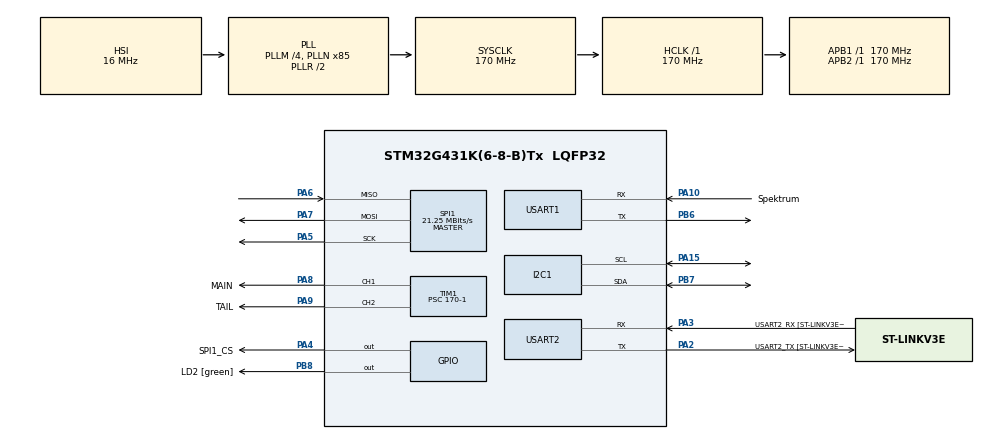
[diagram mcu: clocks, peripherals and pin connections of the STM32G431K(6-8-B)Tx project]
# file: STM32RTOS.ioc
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Mcu.Family=STM32G4
FREERTOS.Queues01=IMUQ,1,IMU,0,Static,IMUQBuffer,IMUQControlBlock;PWMQ,1,PWM_CMD,0,Static,PWMQBuffer,PWMQControlBlock;CMDQ,1,PQR_CMD,0,Static,CMDQBuffer,CMDQControlBlock;MAGQ,1,MOTOR,0,Static,MAGQBuffer,MAGQControlBlock
PA6.Mode=Full_Duplex_Master
RCC.CortexFreq_Value=170000000
SPI1.VirtualType=VM_MASTER
Dma.USART1_RX.0.EventEnable=DISABLE
PA14.GPIO_Label=T_SWCLK
Dma.USART1_RX.0.SignalID=NONE
RCC.SYSCLKSource=RCC_SYSCLKSOURCE_PLLCLK
ProjectManager.StackSize=0x400
VP_FREERTOS_VS_CMSIS_V2.Mode=CMSIS_V2
TIM1.Prescaler=170-1
SPI1.Direction=SPI_DIRECTION_2LINES
RCC.HCLKFreq_Value=170000000
RCC.APB2TimFreq_Value=170000000
PB6.Signal=USART1_TX
PB6.Mode=Asynchronous
SPI1.CalculateBaudRate=21.25 MBits/s
RCC.AHBFreq_Value=170000000
Dma.USART1_RX.0.Priority=DMA_PRIORITY_LOW
RCC.HSE_VALUE=8000000
USART2.VirtualMode-Asynchronous=VM_ASYNC
PA15.Mode=I2C
RCC.ADC12Freq_Value=170000000
TIM1.Channel-PWM\ Generation1\ CH1=TIM_CHANNEL_1
PA14.Mode=Serial_Wire
NVIC.TIM2_IRQn=true\:0\:0\:false\:false\:true\:false\:false\:true
SPI1.DataSize=SPI_DATASIZE_16BIT
PA10.GPIO_Label=Spektrum
Dma.USART1_RX.0.SyncEnable=DISABLE
VP_SYS_VS_DBSignals.Mode=DisableDeadBatterySignals
PB7.Signal=I2C1_SDA
PA8.Signal=S_TIM1_CH1
Dma.USART1_RX.0.MemInc=DMA_MINC_ENABLE
Mcu.Package=LQFP32
VP_SYS_VS_tim2.Mode=TIM2
PA6.Signal=SPI1_MISO
NVIC.TimeBase=TIM2_IRQn
PA2.GPIO_Label=USART2_TX [ST-LINKV3E_VCP_RX]
NVIC.TimeBaseIP=TIM2
PA10.Signal=USART1_RX
PA15.Signal=I2C1_SCL
PB8-BOOT0.GPIO_Label=LD2 [green]
USART2.WordLength=WORDLENGTH_8B
RCC.APB1TimFreq_Value=170000000
Dma.USART1_RX.0.Mode=DMA_CIRCULAR
Dma.Request0=USART1_RX
SPI1.BaudRatePrescaler=SPI_BAUDRATEPRESCALER_8
PA4.GPIO_Label=SPI1_CS
Dma.USART1_RX.0.Instance=DMA1_Channel1
RCC.HSI48_VALUE=48000000
PA3.Signal=USART2_RX
PA5.Mode=Full_Duplex_Master
FREERTOS.Tasks01=RC,24,128,StartRC,Default,NULL,Static,RCBuffer,RCControlBlock;IMU,24,128,StartIMU,Default,NULL,Static,IMUBuffer,IMUControlBlock;CyclicPitch,24,128,StartCyclicPitch,Default,NULL,Static,CyclicPitchBuffer,CyclicPitchControlBlock;MainLoop,24,128,StartMainLoop,Default,NULL,Static,MainLoopBuffer,MainLoopControlBlock;MAG,8,128,StartMAG,Default,NULL,Static,MAGBuffer,MAGControlBlock
PA7.Mode=Full_Duplex_Master
Dma.USART1_RX.0.PeriphDataAlignment=DMA_PDATAALIGN_BYTE
PA10.Mode=Asynchronous
PA9.GPIO_Label=TAIL
RCC.EXTERNAL_CLOCK_VALUE=12288000
SPI1.CLKPhase=SPI_PHASE_2EDGE
Dma.USART1_RX.0.RequestNumber=1
Dma.USART1_RX.0.Polarity=HAL_DMAMUX_REQ_GEN_RISING
USART1.VirtualMode-Asynchronous=VM_ASYNC
PA13.Signal=SYS_JTMS-SWDIO
PA3.Mode=Asynchronous
PA8.GPIO_Label=MAIN
SH.S_TIM1_CH1.0=TIM1_CH1,PWM Generation1 CH1
ProjectManager.TargetToolchain=STM32CubeIDE
Dma.USART1_RX.0.SyncRequestNumber=1
Dma.USART1_RX.0.Direction=DMA_PERIPH_TO_MEMORY
PA9.Signal=S_TIM1_CH2
TIM1.Channel-PWM\ Generation2\ CH2=TIM_CHANNEL_2
I2C1.Timing=0x30A0A7FB
RCC.USBFreq_Value=170000000
RCC.LSE_VALUE=32768
Dma.USART1_RX.0.PeriphInc=DMA_PINC_DISABLE
PA5.Signal=SPI1_SCK
PB8-BOOT0.Signal=GPIO_Output
board=NUCLEO-G431KB
RCC.VCOOutputFreq_Value=340000000
RCC.APB2Freq_Value=170000000
SH.S_TIM1_CH2.0=TIM1_CH2,PWM Generation2 CH2
SPI1.Mode=SPI_MODE_MASTER
Dma.USART1_RX.0.MemDataAlignment=DMA_MDATAALIGN_BYTE
Dma.USART1_RX.0.SyncPolarity=HAL_DMAMUX_SYNC_NO_EVENT
PA13.Mode=Serial_Wire
Mcu.Name=STM32G431K(6-8-B)Tx
Dma.USART1_RX.0.SyncSignalID=NONE
PA13.GPIO_Label=T_SWDIO
PA2.Signal=USART2_TX
PA4.Signal=GPIO_Output
RCC.SYSCLKFreq_VALUE=170000000
PB7.Mode=I2C
PA14.Signal=SYS_JTCK-SWCLK
ProjectManager.HeapSize=0x200
RCC.HSI_VALUE=16000000
NVIC.PriorityGroup=NVIC_PRIORITYGROUP_4
RCC.PLLM=RCC_PLLM_DIV4
RCC.PLLN=85
PA2.Mode=Asynchronous
NVIC.DMA1_Channel1_IRQn=true\:5\:0\:false\:false\:true\:true\:false\:true
RCC.APB1Freq_Value=170000000
TIM1.PeriodNoDither=2500-1
PA3.GPIO_Label=USART2_RX [ST-LINKV3E_VCP_TX]
PA7.Signal=SPI1_MOSI

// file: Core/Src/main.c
/* USER CODE BEGIN Header */
/**
  ******************************************************************************
  * @file           : main.c
  * @brief          : Main program body
  ******************************************************************************
  * @attention
  *
  * <h2><center>&copy; Copyright (c) 2021 STMicroelectronics.
  * All rights reserved.</center></h2>
  *
  * This software component is licensed by ST under BSD 3-Clause license,
  * the "License"; You may not use this file except in compliance with the
  * License. You may obtain a copy of the License at:
  *                        opensource.org/licenses/BSD-3-Clause
  *
  ******************************************************************************
  */
/* USER CODE END Header */
#include "main.h"
#include "cmsis_os.h"

typedef StaticTask_t osStaticThreadDef_t;
typedef StaticQueue_t osStaticMessageQDef_t;

I2C_HandleTypeDef hi2c1;

SPI_HandleTypeDef hspi1;

TIM_HandleTypeDef htim1;

UART_HandleTypeDef huart1;
UART_HandleTypeDef huart2;
DMA_HandleTypeDef hdma_usart1_rx;

/* Definitions for RC */
osThreadId_t RCHandle;
uint32_t RCBuffer[ 128 ];
osStaticThreadDef_t RCControlBlock;
const osThreadAttr_t RC_attributes = {
  .name = "RC",
  .stack_mem = &RCBuffer[0],
  .stack_size = sizeof(RCBuffer),
  .cb_mem = &RCControlBlock,
  .cb_size = sizeof(RCControlBlock),
  .priority = (osPriority_t) osPriorityNormal,
};
/* Definitions for IMU */
osThreadId_t IMUHandle;
uint32_t IMUBuffer[ 128 ];
osStaticThreadDef_t IMUControlBlock;
const osThreadAttr_t IMU_attributes = {
  .name = "IMU",
  .stack_mem = &IMUBuffer[0],
  .stack_size = sizeof(IMUBuffer),
  .cb_mem = &IMUControlBlock,
  .cb_size = sizeof(IMUControlBlock),
  .priority = (osPriority_t) osPriorityNormal,
};
/* Definitions for CyclicPitch */
osThreadId_t CyclicPitchHandle;
uint32_t CyclicPitchBuffer[ 128 ];
osStaticThreadDef_t CyclicPitchControlBlock;
const osThreadAttr_t CyclicPitch_attributes = {
  .name = "CyclicPitch",
  .stack_mem = &CyclicPitchBuffer[0],
  .stack_size = sizeof(CyclicPitchBuffer),
  .cb_mem = &CyclicPitchControlBlock,
  .cb_size = sizeof(CyclicPitchControlBlock),
  .priority = (osPriority_t) osPriorityNormal,
};
/* Definitions for MainLoop */
osThreadId_t MainLoopHandle;
uint32_t MainLoopBuffer[ 128 ];
osStaticThreadDef_t MainLoopControlBlock;
const osThreadAttr_t MainLoop_attributes = {
  .name = "MainLoop",
  .stack_mem = &MainLoopBuffer[0],
  .stack_size = sizeof(MainLoopBuffer),
  .cb_mem = &MainLoopControlBlock,
  .cb_size = sizeof(MainLoopControlBlock),
  .priority = (osPriority_t) osPriorityNormal,
};
/* Definitions for MAG */
osThreadId_t MAGHandle;
uint32_t MAGBuffer[ 128 ];
osStaticThreadDef_t MAGControlBlock;
const osThreadAttr_t MAG_attributes = {
  .name = "MAG",
  .stack_mem = &MAGBuffer[0],
  .stack_size = sizeof(MAGBuffer),
  .cb_mem = &MAGControlBlock,
  .cb_size = sizeof(MAGControlBlock),
  .priority = (osPriority_t) osPriorityLow,
};
/* Definitions for IMUQ */
osMessageQueueId_t IMUQHandle;
uint8_t IMUQBuffer[ 1 * sizeof( IMU ) ];
osStaticMessageQDef_t IMUQControlBlock;
const osMessageQueueAttr_t IMUQ_attributes = {
  .name = "IMUQ",
  .cb_mem = &IMUQControlBlock,
  .cb_size = sizeof(IMUQControlBlock),
  .mq_mem = &IMUQBuffer,
  .mq_size = sizeof(IMUQBuffer)
};
/* Definitions for PWMQ */
osMessageQueueId_t PWMQHandle;
uint8_t PWMQBuffer[ 1 * sizeof( PWM_CMD ) ];
osStaticMessageQDef_t PWMQControlBlock;
const osMessageQueueAttr_t PWMQ_attributes = {
  .name = "PWMQ",
  .cb_mem = &PWMQControlBlock,
  .cb_size = sizeof(PWMQControlBlock),
  .mq_mem = &PWMQBuffer,
  .mq_size = sizeof(PWMQBuffer)
};
/* Definitions for CMDQ */
osMessageQueueId_t CMDQHandle;
uint8_t CMDQBuffer[ 1 * sizeof( PQR_CMD ) ];
osStaticMessageQDef_t CMDQControlBlock;
const osMessageQueueAttr_t CMDQ_attributes = {
  .name = "CMDQ",
  .cb_mem = &CMDQControlBlock,
  .cb_size = sizeof(CMDQControlBlock),
  .mq_mem = &CMDQBuffer,
  .mq_size = sizeof(CMDQBuffer)
};
/* Definitions for MAGQ */
osMessageQueueId_t MAGQHandle;
uint8_t MAGQBuffer[ 1 * sizeof( MOTOR ) ];
osStaticMessageQDef_t MAGQControlBlock;
const osMessageQueueAttr_t MAGQ_attributes = {
  .name = "MAGQ",
  .cb_mem = &MAGQControlBlock,
  .cb_size = sizeof(MAGQControlBlock),
  .mq_mem = &MAGQBuffer,
  .mq_size = sizeof(MAGQBuffer)
};
/* USER CODE BEGIN PV */

IMU imu  = { 0, };
MOTOR mag = { 0, };
PQR_CMD pqr_cmd = { 0, }, pid_cmd = { 0, };			// P Q
PWM_CMD pwm_cmd = { 0, };		// main tail thro

double cyclic_control;

/* USER CODE END PV */

void SystemClock_Config(void);
static void MX_GPIO_Init(void);
static void MX_DMA_Init(void);
static void MX_USART2_UART_Init(void);
static void MX_I2C1_Init(void);
static void MX_SPI1_Init(void);
static void MX_USART1_UART_Init(void);
static void MX_TIM1_Init(void);
void StartRC(void *argument);
void StartIMU(void *argument);
void StartCyclicPitch(void *argument);
void StartMainLoop(void *argument);
void StartMAG(void *argument);

/* USER CODE BEGIN PFP */
void RC_check(void);
void IMU_check(void);
void MAG_check(void);
void PWM_check(void);
/* USER CODE END PFP */

int main(void)
{

  /* MCU Configuration--------------------------------------------------------*/

  /* Reset of all peripherals, Initializes the Flash interface and the Systick. */
  HAL_Init();

  /* Configure the system clock */
  SystemClock_Config();

  /* Initialize all configured peripherals */
  MX_GPIO_Init();
  MX_DMA_Init();
  MX_USART2_UART_Init();
  MX_I2C1_Init();
  MX_SPI1_Init();
  MX_USART1_UART_Init();
  MX_TIM1_Init();
  /* USER CODE BEGIN 2 */

  HAL_GPIO_WritePin(LD2_GPIO_Port, LD2_Pin, GPIO_PIN_SET);
  HAL_Delay(500);
  HAL_GPIO_WritePin(LD2_GPIO_Port, LD2_Pin, GPIO_PIN_RESET);

  MAG_check();
  RC_check();
  IMU_check();
  PWM_check();

  pwm_cmd.cyclic_pitch = PWM_MIN;
  pwm_cmd.tail = PWM_MIN;
  pwm_cmd.throttle = PWM_MIN;

  HAL_GPIO_WritePin(LD2_GPIO_Port, LD2_Pin, GPIO_PIN_SET);

  HAL_TIM_PWM_Start(&htim1, TIM_CHANNEL_1);
  HAL_TIM_PWM_Start(&htim1, TIM_CHANNEL_2);

  /*======GAIN SET===============================================================================================*/
  setAmplitudeGain(0.0002);
  setShiftGain(0.003054325);
  setPIDGain(0.45, 0.007, 0, 0);//0.01//1.05, 0.007, 1.0, 0
  setPIDGain(0.8, 0.0085, 0, 1);//0.0115//1.2, 0.0085, 1.15, 1
  setPIDGain(1.15, 0.007, 1.05, 2);
  setPIDGain(0.4, 0, 0.95, 3);//0.0115//1.2, 0.0085, 1.15, 1
  setPIDGain(0.4, 0, 0.95, 4);//0.0115//1.2, 0.0085, 1.15, 1

  /*=============================================================================================================*/

  /* USER CODE END 2 */

  /* Init scheduler */
  osKernelInitialize();

  /* Create the queue(s) */
  /* creation of IMUQ */
  IMUQHandle = osMessageQueueNew (1, sizeof(IMU), &IMUQ_attributes);

  /* creation of PWMQ */
  PWMQHandle = osMessageQueueNew (1, sizeof(PWM_CMD), &PWMQ_attributes);

  /* creation of CMDQ */
  CMDQHandle = osMessageQueueNew (1, sizeof(PQR_CMD), &CMDQ_attributes);

  /* creation of MAGQ */
  MAGQHandle = osMessageQueueNew (1, sizeof(MOTOR), &MAGQ_attributes);

  /* Create the thread(s) */
  /* creation of RC */
  RCHandle = osThreadNew(StartRC, NULL, &RC_attributes);

  /* creation of IMU */
  IMUHandle = osThreadNew(StartIMU, NULL, &IMU_attributes);

  /* creation of CyclicPitch */
  CyclicPitchHandle = osThreadNew(StartCyclicPitch, NULL, &CyclicPitch_attributes);

  /* creation of MainLoop */
  MainLoopHandle = osThreadNew(StartMainLoop, NULL, &MainLoop_attributes);

  /* creation of MAG */
  MAGHandle = osThreadNew(StartMAG, NULL, &MAG_attributes);

  /* Start scheduler */
  osKernelStart();

  /* We should never get here as control is now taken by the scheduler */
  /* Infinite loop */
  while (1)
  {

  }
}

void SystemClock_Config(void)
{
  RCC_OscInitTypeDef RCC_OscInitStruct = {0};
  RCC_ClkInitTypeDef RCC_ClkInitStruct = {0};
  RCC_PeriphCLKInitTypeDef PeriphClkInit = {0};

  /** Configure the main internal regulator output voltage
  */
  HAL_PWREx_ControlVoltageScaling(PWR_REGULATOR_VOLTAGE_SCALE1_BOOST);
  /** Initializes the RCC Oscillators according to the specified parameters
  * in the RCC_OscInitTypeDef structure.
  */
  RCC_OscInitStruct.OscillatorType = RCC_OSCILLATORTYPE_HSI;
  RCC_OscInitStruct.HSIState = RCC_HSI_ON;
  RCC_OscInitStruct.HSICalibrationValue = RCC_HSICALIBRATION_DEFAULT;
  RCC_OscInitStruct.PLL.PLLState = RCC_PLL_ON;
  RCC_OscInitStruct.PLL.PLLSource = RCC_PLLSOURCE_HSI;
  RCC_OscInitStruct.PLL.PLLM = RCC_PLLM_DIV4;
  RCC_OscInitStruct.PLL.PLLN = 85;
  RCC_OscInitStruct.PLL.PLLP = RCC_PLLP_DIV2;
  RCC_OscInitStruct.PLL.PLLQ = RCC_PLLQ_DIV2;
  RCC_OscInitStruct.PLL.PLLR = RCC_PLLR_DIV2;
  if (HAL_RCC_OscConfig(&RCC_OscInitStruct) != HAL_OK)
  {
    Error_Handler();
  }
  /** Initializes the CPU, AHB and APB buses clocks
  */
  RCC_ClkInitStruct.ClockType = RCC_CLOCKTYPE_HCLK|RCC_CLOCKTYPE_SYSCLK
                              |RCC_CLOCKTYPE_PCLK1|RCC_CLOCKTYPE_PCLK2;
  RCC_ClkInitStruct.SYSCLKSource = RCC_SYSCLKSOURCE_PLLCLK;
  RCC_ClkInitStruct.AHBCLKDivider = RCC_SYSCLK_DIV1;
  RCC_ClkInitStruct.APB1CLKDivider = RCC_HCLK_DIV1;
  RCC_ClkInitStruct.APB2CLKDivider = RCC_HCLK_DIV1;

  if (HAL_RCC_ClockConfig(&RCC_ClkInitStruct, FLASH_LATENCY_4) != HAL_OK)
  {
    Error_Handler();
  }
  /** Initializes the peripherals clocks
  */
  PeriphClkInit.PeriphClockSelection = RCC_PERIPHCLK_USART1|RCC_PERIPHCLK_USART2
                              |RCC_PERIPHCLK_I2C1;
  PeriphClkInit.Usart1ClockSelection = RCC_USART1CLKSOURCE_PCLK2;
  PeriphClkInit.Usart2ClockSelection = RCC_USART2CLKSOURCE_PCLK1;
  PeriphClkInit.I2c1ClockSelection = RCC_I2C1CLKSOURCE_PCLK1;
  if (HAL_RCCEx_PeriphCLKConfig(&PeriphClkInit) != HAL_OK)
  {
    Error_Handler();
  }
}

static void MX_I2C1_Init(void)
{

  hi2c1.Instance = I2C1;
  hi2c1.Init.Timing = 0x30A0A7FB;
  hi2c1.Init.OwnAddress1 = 0;
  hi2c1.Init.AddressingMode = I2C_ADDRESSINGMODE_7BIT;
  hi2c1.Init.DualAddressMode = I2C_DUALADDRESS_DISABLE;
  hi2c1.Init.OwnAddress2 = 0;
  hi2c1.Init.OwnAddress2Masks = I2C_OA2_NOMASK;
  hi2c1.Init.GeneralCallMode = I2C_GENERALCALL_DISABLE;
  hi2c1.Init.NoStretchMode = I2C_NOSTRETCH_DISABLE;
  if (HAL_I2C_Init(&hi2c1) != HAL_OK)
  {
    Error_Handler();
  }
  /** Configure Analogue filter
  */
  if (HAL_I2CEx_ConfigAnalogFilter(&hi2c1, I2C_ANALOGFILTER_ENABLE) != HAL_OK)
  {
    Error_Handler();
  }
  /** Configure Digital filter
  */
  if (HAL_I2CEx_ConfigDigitalFilter(&hi2c1, 0) != HAL_OK)
  {
    Error_Handler();
  }

}

static void MX_SPI1_Init(void)
{

  /* SPI1 parameter configuration*/
  hspi1.Instance = SPI1;
  hspi1.Init.Mode = SPI_MODE_MASTER;
  hspi1.Init.Direction = SPI_DIRECTION_2LINES;
  hspi1.Init.DataSize = SPI_DATASIZE_16BIT;
  hspi1.Init.CLKPolarity = SPI_POLARITY_LOW;
  hspi1.Init.CLKPhase = SPI_PHASE_2EDGE;
  hspi1.Init.NSS = SPI_NSS_SOFT;
  hspi1.Init.BaudRatePrescaler = SPI_BAUDRATEPRESCALER_8;
  hspi1.Init.FirstBit = SPI_FIRSTBIT_MSB;
  hspi1.Init.TIMode = SPI_TIMODE_DISABLE;
  hspi1.Init.CRCCalculation = SPI_CRCCALCULATION_DISABLE;
  hspi1.Init.CRCPolynomial = 7;
  hspi1.Init.CRCLength = SPI_CRC_LENGTH_DATASIZE;
  hspi1.Init.NSSPMode = SPI_NSS_PULSE_DISABLE;
  if (HAL_SPI_Init(&hspi1) != HAL_OK)
  {
    Error_Handler();
  }

}

static void MX_TIM1_Init(void)
{

  TIM_MasterConfigTypeDef sMasterConfig = {0};
  TIM_OC_InitTypeDef sConfigOC = {0};
  TIM_BreakDeadTimeConfigTypeDef sBreakDeadTimeConfig = {0};

  htim1.Instance = TIM1;
  htim1.Init.Prescaler = 170-1;
  htim1.Init.CounterMode = TIM_COUNTERMODE_UP;
  htim1.Init.Period = 2499;
  htim1.Init.ClockDivision = TIM_CLOCKDIVISION_DIV1;
  htim1.Init.RepetitionCounter = 0;
  htim1.Init.AutoReloadPreload = TIM_AUTORELOAD_PRELOAD_DISABLE;
  if (HAL_TIM_PWM_Init(&htim1) != HAL_OK)
  {
    Error_Handler();
  }
  sMasterConfig.MasterOutputTrigger = TIM_TRGO_RESET;
  sMasterConfig.MasterOutputTrigger2 = TIM_TRGO2_RESET;
  sMasterConfig.MasterSlaveMode = TIM_MASTERSLAVEMODE_DISABLE;
  if (HAL_TIMEx_MasterConfigSynchronization(&htim1, &sMasterConfig) != HAL_OK)
  {
    Error_Handler();
  }
  sConfigOC.OCMode = TIM_OCMODE_PWM1;
  sConfigOC.Pulse = 0;
  sConfigOC.OCPolarity = TIM_OCPOLARITY_HIGH;
  sConfigOC.OCNPolarity = TIM_OCNPOLARITY_HIGH;
  sConfigOC.OCFastMode = TIM_OCFAST_DISABLE;
  sConfigOC.OCIdleState = TIM_OCIDLESTATE_RESET;
  sConfigOC.OCNIdleState = TIM_OCNIDLESTATE_RESET;
  if (HAL_TIM_PWM_ConfigChannel(&htim1, &sConfigOC, TIM_CHANNEL_1) != HAL_OK)
  {
    Error_Handler();
  }
  if (HAL_TIM_PWM_ConfigChannel(&htim1, &sConfigOC, TIM_CHANNEL_2) != HAL_OK)
  {
    Error_Handler();
  }
  sBreakDeadTimeConfig.OffStateRunMode = TIM_OSSR_DISABLE;
  sBreakDeadTimeConfig.OffStateIDLEMode = TIM_OSSI_DISABLE;
  sBreakDeadTimeConfig.LockLevel = TIM_LOCKLEVEL_OFF;
  sBreakDeadTimeConfig.DeadTime = 0;
  sBreakDeadTimeConfig.BreakState = TIM_BREAK_DISABLE;
  sBreakDeadTimeConfig.BreakPolarity = TIM_BREAKPOLARITY_HIGH;
  sBreakDeadTimeConfig.BreakFilter = 0;
  sBreakDeadTimeConfig.BreakAFMode = TIM_BREAK_AFMODE_INPUT;
  sBreakDeadTimeConfig.Break2State = TIM_BREAK2_DISABLE;
  sBreakDeadTimeConfig.Break2Polarity = TIM_BREAK2POLARITY_HIGH;
  sBreakDeadTimeConfig.Break2Filter = 0;
  sBreakDeadTimeConfig.Break2AFMode = TIM_BREAK_AFMODE_INPUT;
  sBreakDeadTimeConfig.AutomaticOutput = TIM_AUTOMATICOUTPUT_DISABLE;
  if (HAL_TIMEx_ConfigBreakDeadTime(&htim1, &sBreakDeadTimeConfig) != HAL_OK)
  {
    Error_Handler();
  }
  HAL_TIM_MspPostInit(&htim1);

}

static void MX_USART1_UART_Init(void)
{

  huart1.Instance = USART1;
  huart1.Init.BaudRate = 115200;
  huart1.Init.WordLength = UART_WORDLENGTH_8B;
  huart1.Init.StopBits = UART_STOPBITS_1;
  huart1.Init.Parity = UART_PARITY_NONE;
  huart1.Init.Mode = UART_MODE_TX_RX;
  huart1.Init.HwFlowCtl = UART_HWCONTROL_NONE;
  huart1.Init.OverSampling = UART_OVERSAMPLING_16;
  huart1.Init.OneBitSampling = UART_ONE_BIT_SAMPLE_DISABLE;
  huart1.Init.ClockPrescaler = UART_PRESCALER_DIV1;
  huart1.AdvancedInit.AdvFeatureInit = UART_ADVFEATURE_NO_INIT;
  if (HAL_UART_Init(&huart1) != HAL_OK)
  {
    Error_Handler();
  }
  if (HAL_UARTEx_SetTxFifoThreshold(&huart1, UART_TXFIFO_THRESHOLD_1_8) != HAL_OK)
  {
    Error_Handler();
  }
  if (HAL_UARTEx_SetRxFifoThreshold(&huart1, UART_RXFIFO_THRESHOLD_1_8) != HAL_OK)
  {
    Error_Handler();
  }
  if (HAL_UARTEx_DisableFifoMode(&huart1) != HAL_OK)
  {
    Error_Handler();
  }
  /* USER CODE BEGIN USART1_Init 2 */

  HAL_UART_Receive_DMA(&huart1, rc_byte_data, 16);

  /* USER CODE END USART1_Init 2 */

}

static void MX_USART2_UART_Init(void)
{

  huart2.Instance = USART2;
  huart2.Init.BaudRate = 115200;
  huart2.Init.WordLength = UART_WORDLENGTH_8B;
  huart2.Init.StopBits = UART_STOPBITS_1;
  huart2.Init.Parity = UART_PARITY_NONE;
  huart2.Init.Mode = UART_MODE_TX_RX;
  huart2.Init.HwFlowCtl = UART_HWCONTROL_NONE;
  huart2.Init.OverSampling = UART_OVERSAMPLING_16;
  huart2.Init.OneBitSampling = UART_ONE_BIT_SAMPLE_DISABLE;
  huart2.Init.ClockPrescaler = UART_PRESCALER_DIV1;
  huart2.AdvancedInit.AdvFeatureInit = UART_ADVFEATURE_NO_INIT;
  if (HAL_UART_Init(&huart2) != HAL_OK)
  {
    Error_Handler();
  }
  if (HAL_UARTEx_SetTxFifoThreshold(&huart2, UART_TXFIFO_THRESHOLD_1_8) != HAL_OK)
  {
    Error_Handler();
  }
  if (HAL_UARTEx_SetRxFifoThreshold(&huart2, UART_RXFIFO_THRESHOLD_1_8) != HAL_OK)
  {
    Error_Handler();
  }
  if (HAL_UARTEx_DisableFifoMode(&huart2) != HAL_OK)
  {
    Error_Handler();
  }

}

static void MX_DMA_Init(void)
{

  /* DMA controller clock enable */
  __HAL_RCC_DMAMUX1_CLK_ENABLE();
  __HAL_RCC_DMA1_CLK_ENABLE();

  /* DMA interrupt init */
  /* DMA1_Channel1_IRQn interrupt configuration */
  HAL_NVIC_SetPriority(DMA1_Channel1_IRQn, 5, 0);
  HAL_NVIC_EnableIRQ(DMA1_Channel1_IRQn);

}

static void MX_GPIO_Init(void)
{
  GPIO_InitTypeDef GPIO_InitStruct = {0};

  /* GPIO Ports Clock Enable */
  __HAL_RCC_GPIOA_CLK_ENABLE();
  __HAL_RCC_GPIOB_CLK_ENABLE();

  /*Configure GPIO pin Output Level */
  HAL_GPIO_WritePin(SPI1_CS_GPIO_Port, SPI1_CS_Pin, GPIO_PIN_RESET);

  /*Configure GPIO pin Output Level */
  HAL_GPIO_WritePin(LD2_GPIO_Port, LD2_Pin, GPIO_PIN_RESET);

  /*Configure GPIO pin : SPI1_CS_Pin */
  GPIO_InitStruct.Pin = SPI1_CS_Pin;
  GPIO_InitStruct.Mode = GPIO_MODE_OUTPUT_PP;
  GPIO_InitStruct.Pull = GPIO_NOPULL;
  GPIO_InitStruct.Speed = GPIO_SPEED_FREQ_LOW;
  HAL_GPIO_Init(SPI1_CS_GPIO_Port, &GPIO_InitStruct);

  /*Configure GPIO pin : LD2_Pin */
  GPIO_InitStruct.Pin = LD2_Pin;
  GPIO_InitStruct.Mode = GPIO_MODE_OUTPUT_PP;
  GPIO_InitStruct.Pull = GPIO_NOPULL;
  GPIO_InitStruct.Speed = GPIO_SPEED_FREQ_LOW;
  HAL_GPIO_Init(LD2_GPIO_Port, &GPIO_InitStruct);

}

/* USER CODE BEGIN 4 */

void HAL_UART_RxCpltCallback(UART_HandleTypeDef *huartx){
	if(huartx->Instance == huart1.Instance){
		Spektrum_Read();

		HAL_UART_Receive_DMA(&huart1, rc_byte_data, 16);
	}
}

void RC_check(void){
	for(int check = 0; check < 10;){
		if(rc.channel[THROTTLE].pos == 342)	check++;
		else check = 0;
	}
}

void IMU_check(void){
	IMU imu  = { 0, };

	wt931_Init(&hi2c1);

	for(int check = 0; check < 5;){
		imu = readIMU();
		if(imu.theta != 0) check++;
		else check = 0;
	}
}

void MAG_check(void){
	as5147_Init(&hspi1, SPI1_CS_GPIO_Port, SPI1_CS_Pin);
	//as5147_setZeroPosition();

	for(int check = 0; check < 20;){
		updatePosition(&mag);
		float err = mag.pre_ang - mag.rad;
		if((err >= -0.5 && err <= 0.5) && mag.rad != 0) check++;
		else check = 0;

		HAL_Delay(5);
	}
	while(mag.rad > 0.1 && mag.rad < 6.1){
		setOffset(&mag);
		updatePosition(&mag);
	}

}

void PWM_check(void){
	  htim1.Instance->CCR1 = PWM_START;
	  htim1.Instance->CCR2 = PWM_START;
}
/* USER CODE END 4 */

void StartRC(void *argument)
{
  /* USER CODE BEGIN 5 */
  /* Infinite loop */
  for(;;)
  {
	if(rc.channel[THROTTLE].pos != 0){
		rc.thro = map(rc.channel[THROTTLE].pos, RC_MIN, RC_MAX, PWM_MIN, PWM_MAX);     // thro command 				m/s

		rc.d_pi = map(rc.channel[AILERON].pos, RC_MIN, RC_MAX, -100, 100);			// d(pi)/dt command			deg/s
		rc.d_theta = map(rc.channel[ELEVATOR].pos, RC_MIN, RC_MAX, -100, 100);		// d(theta)/dt command		deg/s
		rc.d_psi = map(rc.channel[RUDDER].pos, RC_MIN, RC_MAX, -100, 100);			// d(psi)/dt command		deg/s

		rc.pi = map(rc.channel[AILERON].pos, RC_MIN, RC_MAX, -45, 45);			// d(pi)/dt command			deg/s
		rc.theta = map(rc.channel[ELEVATOR].pos, RC_MIN, RC_MAX, -45, 45);		// d(theta)/dt command		deg/s

		if(SWITCH_POS(rc.channel[AUX1].pos) > 0) rc.arm = 1;
		else rc.arm = 0;

		////rc.mode = SWITCH_POS(rc.channel[AUX2].pos);
	}
    osDelay(1);
  }
  /* USER CODE END 5 */
}

void StartIMU(void *argument)
{
  /* USER CODE BEGIN StartIMU */
  /* Infinite loop */
  for(;;)
  {
	imu = readIMU();
    osDelay(1);
  }
  /* USER CODE END StartIMU */
}

void StartCyclicPitch(void *argument)
{
  /* USER CODE BEGIN StartCyclicPitch */
  /* Infinite loop */
  for(;;)
  {
	float amplitude = setAmplitude(pwm_cmd, pid_cmd);		//cogging power
	float start_rad = setCyclicShift(mag, pid_cmd);

	if(start_rad == -1)
		cyclic_control = 0;
	else{
		start_rad -= ((pwm_cmd.throttle - PWM_MIN) * cyclic_shift_gain);
		cyclic_control = sin(mag.rad - start_rad);
	}

	pwm_cmd.cyclic_pitch = pwm_cmd.throttle + (cyclic_control * amplitude);

	if(pwm_cmd.tail < PWM_MIN) pwm_cmd.tail = PWM_MIN;
	else if(pwm_cmd.tail > PWM_MAX) pwm_cmd.tail = PWM_MAX;
	if(pwm_cmd.cyclic_pitch < PWM_MIN) pwm_cmd.cyclic_pitch = PWM_MIN;
	else if(pwm_cmd.cyclic_pitch > PWM_MAX) pwm_cmd.cyclic_pitch = PWM_MAX;

	if(rc.arm){
		htim1.Instance->CCR1 = pwm_cmd.cyclic_pitch;
		htim1.Instance->CCR2 = pwm_cmd.tail;
	}else{
		P_err.sum_error = 0;
		Q_err.sum_error = 0;
		R_err.sum_error = 0;

		htim1.Instance->CCR1 = PWM_MIN;
		htim1.Instance->CCR2 = PWM_MIN;
	}
    osDelay(1);
  }
  /* USER CODE END StartCyclicPitch */
}

void StartMainLoop(void *argument)
{
  /* USER CODE BEGIN StartMainLoop */
  /* Infinite loop */
  for(;;)
  {
	pqr_cmd = CommandGennerate(imu, rc);
	pid_cmd = PIDController(pqr_cmd, imu);

	pwm_cmd.throttle = rc.thro;
	pwm_cmd.tail = rc.thro + pid_cmd.R_cmd;

    osDelay(1);
  }
  /* USER CODE END StartMainLoop */
}

void StartMAG(void *argument)
{
  /* USER CODE BEGIN StartMAG */
  /* Infinite loop */
  for(;;)
  {
	updatePosition(&mag);
    osDelay(1);
  }
  /* USER CODE END StartMAG */
}

 /**
  * @brief  Period elapsed callback in non blocking mode
  * @note   This function is called  when TIM2 interrupt took place, inside
  * HAL_TIM_IRQHandler(). It makes a direct call to HAL_IncTick() to increment
  * a global variable "uwTick" used as application time base.
  * @param  htim : TIM handle
  * @retval None
  */
void HAL_TIM_PeriodElapsedCallback(TIM_HandleTypeDef *htim)
{
  if (htim->Instance == TIM2) {
    HAL_IncTick();
  }
}

void Error_Handler(void)
{
  __disable_irq();
  while (1)
  {
  }
}

/************************ (C) COPYRIGHT STMicroelectronics *****END OF FILE****/
